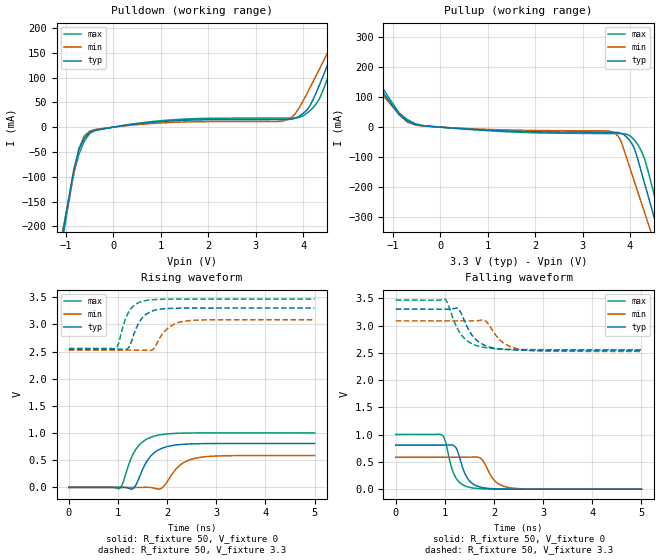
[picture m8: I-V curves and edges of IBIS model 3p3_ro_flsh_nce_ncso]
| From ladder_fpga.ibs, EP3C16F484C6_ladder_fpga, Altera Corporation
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[Model] 3p3_ro_flsh_nce_ncso
Model_type I/O
Polarity Non-Inverting
Enable Active-Low
Vinl  = 0.8V
Vinh  = 1.7V
Vmeas = 1.5425V
Rref  = 10M
Cref  = 0pF
Vref  = 0V
C_comp  4.4pF   4.4pF   4.4pF
[Temperature Range] 25   85   0
[Voltage Range]   3.3   3.085   3.465
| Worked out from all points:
|   slope of the pulldown table from 0 to 0.495 V, typ, clamps not added: 75.5 ohm
|   slope of the pullup table from 0 to 0.495 V, typ, clamps not added: 91.6 ohm
|   rising waveform, R_fixture 50, V_fixture 0: 20-80 % time 329ps typ, 355ps min, 314ps max; typ from 0 V to 0.808 V
|   falling waveform, R_fixture 50, V_fixture 0: 20-80 % time 214ps typ, 249ps min, 198ps max; typ from 0.808 V to 0 V
|   rising waveform, R_fixture 50, V_fixture 3.3: 20-80 % time 249ps typ, 299ps min, 222ps max; typ from 2.54 V to 3.3 V
|   falling waveform, R_fixture 50, V_fixture 3.3: 20-80 % time 330ps typ, 349ps min, 322ps max; typ from 3.3 V to 2.54 V
[Pulldown]
| voltage   I (typ)   I (min)   I (max)
-3.3V     -1.448A    -1.286A    -1.533A
-1.063V   -210.4mA   -204.7mA   -221.5mA
-727.1mV  -44.36mA   -42.91mA   -54.53mA
-503.4mV  -10.15mA   -8.109mA   -12.91mA
1.175V    12.26mA    9.237mA    14.28mA
3.474V    15.32mA    11.4mA     18.42mA
3.821V    17.58mA    25.46mA    18.57mA
4.082V    34.68mA    68.03mA    28.24mA
4.342V    84.8mA     117.1mA    56.91mA
4.776V    186.6mA    199.2mA    169.7mA
4.863V    206.5mA    215.5mA    193.1mA
6.6V      561mA      524.4mA    591.2mA
[Pullup]
| voltage   I (typ)   I (min)   I (max)
-3.3V     571.7mA    501.2mA    631.2mA
-2.432V   382.2mA    337.1mA    422.2mA
-2.084V   306.4mA    271.4mA    338.6mA
-868.4mV  41.74mA    41.99mA    47.34mA
-521.1mV  8.474mA    6.788mA    10.81mA
3.636V    -17.13mA   -17.09mA   -21.42mA
3.803V    -19.87mA   -44.01mA   -21.6mA
4.083V    -67.79mA   -176.8mA   -41.09mA
4.419V    -249.7mA   -337.5mA   -169.5mA
4.586V    -343.5mA   -417.8mA   -270.7mA
4.698V    -406.1mA   -471.4mA   -338.2mA
6.6V      -1.469A    -1.382A    -1.486A
[Ramp]
dV/dt_r   4.847e-001/3.288e-010  3.516e-001/3.545e-010  6.018e-001/3.143e-010
dV/dt_f   4.548e-001/3.298e-010  3.360e-001/3.494e-010  5.454e-001/3.220e-010
R_load = 50ohms
[Rising Waveform]
R_fixture   = 50
V_fixture   = 0
V_fixture_min = 0
V_fixture_max = 0
| time   V (typ)   V (min)   V (max)
0s        0V         511nV      0V
1.016ns   -221.6uV   -213.9uV   -25.66mV
1.104ns   1.757mV    -188.5uV   89.69mV
1.282ns   -32.94mV   -264.4uV   564.6mV
1.37ns    50.81mV    -319.6uV   709.1mV
1.592ns   486.3mV    1.628mV    890.8mV
1.813ns   683.3mV    -31.6mV    959.2mV
2.256ns   787.8mV    403.5mV    996.7mV
2.567ns   802.1mV    534.6mV    1.001V
5ns       807.8mV    586mV      1.003V
[Falling Waveform]
R_fixture   = 50
V_fixture   = 0
V_fixture_min = 0
V_fixture_max = 0
| time   V (typ)   V (min)   V (max)
0s        807.8mV    586.1mV    1.003V
927.2ps   807.6mV    586.1mV    1.001V
1.016ns   808.2mV    586mV      867.6mV
1.104ns   811.4mV    586mV      501.1mV
1.193ns   792.5mV    585.9mV    258mV
1.503ns   149.2mV    586.8mV    33.37mV
1.725ns   37.26mV    568.3mV    8.664mV
1.991ns   7.72mV     177.2mV    1.756mV
2.301ns   1.243mV    29.85mV    276uV
5ns       4.262uV    2.599uV    5.299uV
[Rising Waveform]
R_fixture   = 50
V_fixture   = 3.3
V_fixture_min = 3.085
V_fixture_max = 3.465
| time   V (typ)   V (min)   V (max)
0s        2.542V     2.525V     2.556V
971.5ps   2.541V     2.525V     2.566V
1.149ns   2.534V     2.525V     3.093V
1.237ns   2.597V     2.525V     3.255V
1.415ns   3.01V      2.524V     3.397V
1.548ns   3.168V     2.524V     3.434V
1.725ns   3.254V     2.55V      3.454V
2.035ns   3.292V     2.942V     3.463V
2.345ns   3.298V     3.057V     3.464V
5ns       3.3V       3.085V     3.465V
[Falling Waveform]
R_fixture   = 50
V_fixture   = 3.3
V_fixture_min = 3.085
V_fixture_max = 3.465
| time   V (typ)   V (min)   V (max)
0s        3.3V       3.085V     3.465V
1.016ns   3.299V     3.084V     3.479V
1.237ns   3.322V     3.084V     2.976V
1.326ns   3.237V     3.084V     2.84V
1.548ns   2.831V     3.084V     2.667V
1.769ns   2.655V     3.102V     2.603V
1.858ns   2.62V      3.059V     2.59V
2.168ns   2.565V     2.697V     2.567V
2.478ns   2.55V      2.572V     2.56V
5ns       2.542V     2.525V     2.556V
